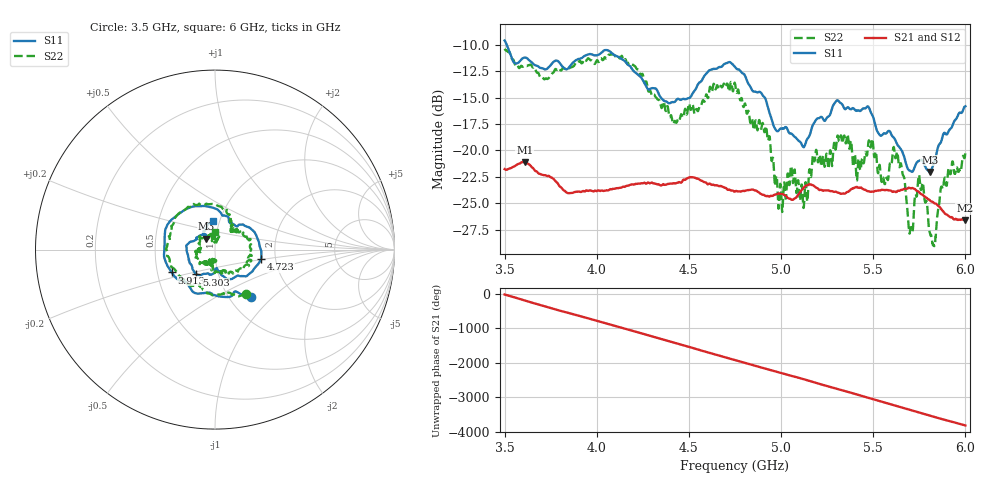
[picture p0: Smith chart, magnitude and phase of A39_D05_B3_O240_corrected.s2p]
! Created with skrf 1.9.0 (http://scikit-rf.org).
# Hz S RI R 50.0
!freq ReS11 ImS11 ReS21 ImS21 ReS12 ImS12 ReS22 ImS22
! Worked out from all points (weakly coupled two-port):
!   1601 points, 3.5 GHz to 6 GHz, reference 50 ohm
!   highest |S21| = -21.09 dB at 3.609 GHz (marker M1); lowest = -26.6 dB at 5.997 GHz (marker M2)
!   lowest |S11| = -22.0 dB at 5.806 GHz (marker M3), VSWR 1.17, Z = 45 + j5.59 ohm
!   |S11| at or under -10 dB: 3.512 GHz to end of sweep
!   |S22| runs from -29.1 to -10.4 dB; largest |S21 - S12| = 0.00089
!   S11 on the Smith chart (normalised r, x): 3.5 GHz: 1.26, -0.75; 3.913 GHz: 0.59, -0.16; 4.723 GHz: 1.68, -0.19; 5.303 GHz: 0.78, -0.22; 6 GHz: 0.93, +0.31
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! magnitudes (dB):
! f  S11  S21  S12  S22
! 3.5 GHz  -9.6  -21.8  -21.8  -10.4
! 3.609 GHz  -11.2  -21.1  -21.1  -11.9
! 3.913 GHz  -11.3  -23.9  -23.9  -11.6
! 3.917 GHz  -11.3  -23.9  -23.9  -11.7
! 4.144 GHz  -11.4  -23.4  -23.4  -11.4
! 4.334 GHz  -14.6  -23.2  -23.2  -15.2
! 4.425 GHz  -15.4  -23.1  -23.1  -17.2
! 4.723 GHz  -11.6  -23.7  -23.7  -13.9
! 4.75 GHz  -12.1  -23.9  -23.8  -13.7
! 4.928 GHz  -15.9  -24.3  -24.3  -19.0
! 4.995 GHz  -17.9  -24.1  -24.1  -23.2
! 5.062 GHz  -18.5  -24.7  -24.6  -22.9
! 5.131 GHz  -19.4  -23.4  -23.4  -23.1
! 5.167 GHz  -17.8  -23.3  -23.2  -21.5
! 5.303 GHz  -15.3  -24.0  -23.9  -18.9
! 5.584 GHz  -18.1  -23.8  -23.7  -22.2
! 5.641 GHz  -19.7  -23.8  -23.8  -21.6
! 5.703 GHz  -22.0  -23.6  -23.6  -27.3
! 5.758 GHz  -20.9  -24.1  -24.1  -23.7
! 5.806 GHz  -22.0  -24.7  -24.7  -27.8
! 5.997 GHz  -15.8  -26.6  -26.5  -20.6
! 6 GHz  -15.8  -26.6  -26.6  -20.2
